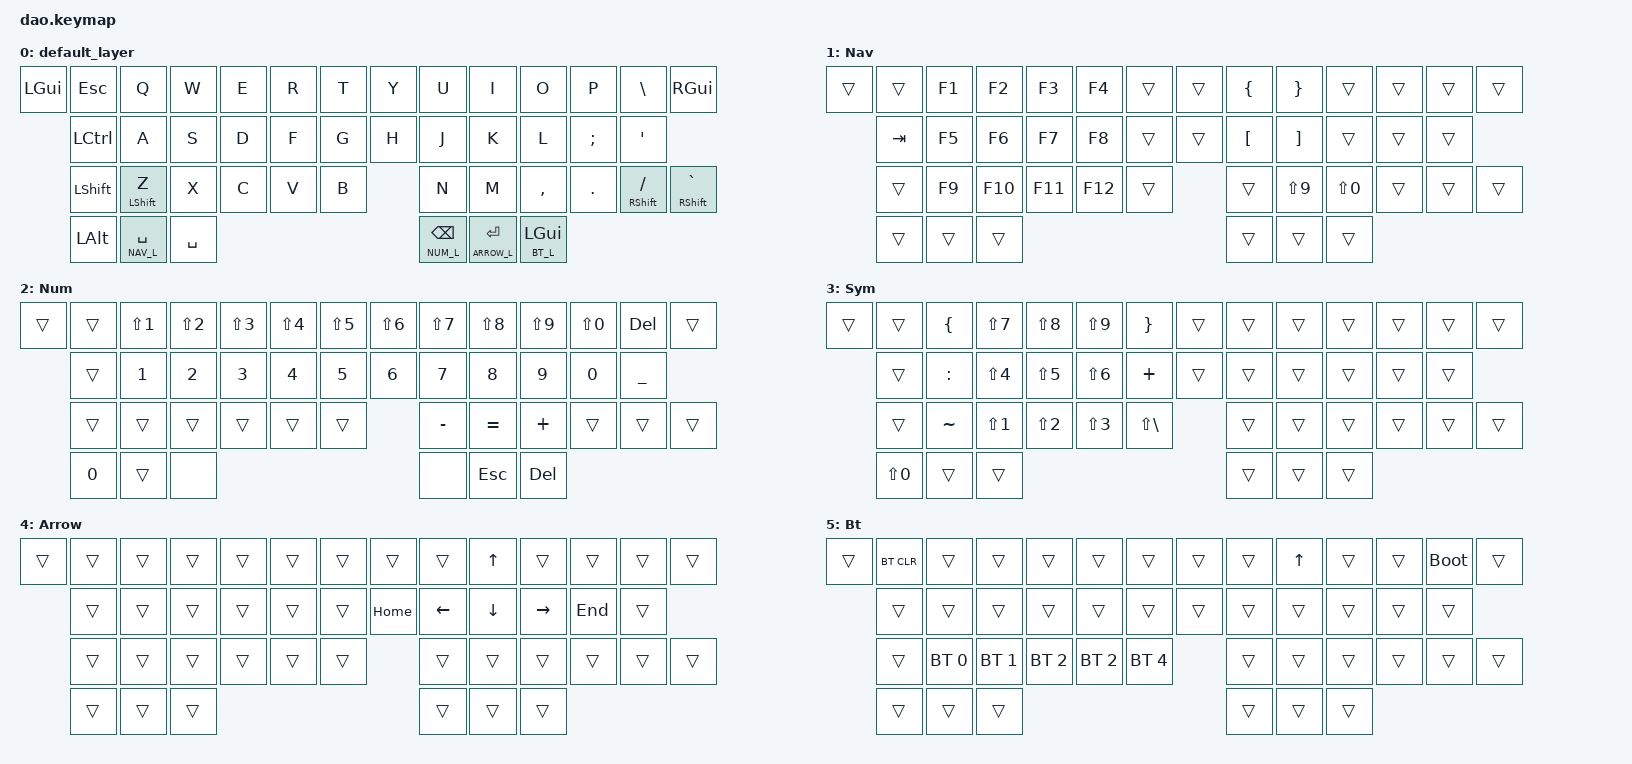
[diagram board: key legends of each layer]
/*
 * Copyright (c) 2021 Rafael Yumagulov
 *
 * SPDX-License-Identifier: MIT
 */

#include <behaviors.dtsi>
#include <dt-bindings/zmk/keys.h>
#include <dt-bindings/zmk/bt.h>
#include <dt-bindings/zmk/outputs.h>

#define DEF 0
#define NAV_L 1
#define NUM_L 2
#define SYM_L 3
#define ARROW_L 4
#define BT_L 5

&lt { quick_tap_ms = <200>; };
&mt { quick_tap_ms = <200>; };

/ {
    behaviors {
        bhm: balanced_homerow_mods {
            compatible = "zmk,behavior-hold-tap";
            label = "HOMEROW_MODS";
            #binding-cells = <2>;
            tapping-term-ms = <200>;    // <---[[moderate duration]]
            quick-tap-ms = <0>;
            flavor = "balanced";
            bindings = <&kp>, <&kp>;
        };
    };

    conditional_layers {
        compatible = "zmk,conditional-layers";
	    tri_layer {
	      if-layers = <NAV_L NUM_L>;
	      then-layer = <SYM_L>;
	    };
    };


        keymap {
                compatible = "zmk,keymap";
                default_layer {
// --------------------------------------------------------------------------------------
//  | GUI  | ESC  |  Q  |  W  |  E  |  R  |  T  |    |  Y  |  U   |  I  |  O  |  P  |  \   |  GUI |
//         | CTRL |  A  |  S  |  D  |  F  |  G  |    |  H  |  J   |  K  |  L  |  ;  |  '  | 
//         |LSHFT |  Z  |  X  |  C  |  V  |  B  |    |  N  |  M   |  ,  |  .  |  /  |  `   |
//                      | ALT | SPC | SPC |     |BKSP| ENT | GUI  |
// --------------------------------------------------------------------------------------
                        bindings = <
&kp LGUI &kp ESC   &kp Q   &kp W   &kp E   &kp R    &kp T    &kp Y   &kp U    &kp I       &kp O     &kp P      &kp BSLH  &kp RGUI
         &kp LCTRL &kp A   &kp S   &kp D   &kp F    &kp G    &kp H   &kp J    &kp K       &kp L     &kp SEMI   &kp QUOT
         &kp LSHFT &mt LSHIFT Z   &kp X   &kp C   &kp V    &kp B    &kp N   &kp M    &kp COMMA   &kp DOT   &mt RSHIFT FSLH   &mt RSHIFT GRAVE
              &kp LALT   &lt NAV_L SPACE   &kp SPACE     &lt NUM_L BKSP  &lt ARROW_L RET    &lt BT_L LGUI
                        >;
                        
                };
   nav_layer {
            label = "Nav";
            bindings = <
// --------------------------------------------------------------------------------------
//   | ESC  |  F1 |  F2 |  F3 |  F4 |   |    |  { |  }   |     |     |     |      | 
//   | CTRL |  F5 |  F6 |  F7 |  F8 |   |    |  [ |  ]   |     |     |     |      |
//   |LSHFT |  F9 | F10 | F11 | F12 |   |    |  ( |  )   |     |     |     |      |
//                |     |     |     |   |    |    |      |     |     |
// --------------------------------------------------------------------------------------
&trans &trans   &kp F1 &kp F2  &kp F3  &kp F4  &trans &trans  &kp LBRC    &kp RBRC  &trans &trans &trans  &trans
      &kp TAB  &kp F5 &kp F6  &kp F7  &kp F8  &trans &trans  &kp LBKT    &kp RBKT  &trans &trans &trans 
      &trans   &kp F9 &kp F10 &kp F11 &kp F12 &trans &trans  &kp LS(N9)  &kp LS(N0)    &trans &trans &trans 
             &trans      &trans          &trans       &trans    &trans  &trans         
            >;
        };


        num_layer {
            label = "Num";
            bindings = <
// --------------------------------------------------------------------------------------
//   |    |  !  |  @  |  #  |  $  |  %  |    | ^  |  &   |  *  |  (  |  )  |  DEL | 
//   |    |  1  |  2  |  3  |  4  |  5  |    | 6  |  7   |  8  |  9  |  0  |  _   |
//   |    |     |     |     |     |     |    | -  |  =   |  +  |      |    |      |
// --------------------------------------------------------------------------------------
&trans &trans   &kp LS(N1)   &kp LS(N2) &kp LS(N3) &kp LS(N4)  &kp LS(N5) &kp LS(N6) &kp LS(N7)  &kp LS(N8)  &kp LS(N9)  &kp LS(N0) &kp DEL     &trans
&trans   &kp N1       &kp N2     &kp N3     &kp N4      &kp N5     &kp N6     &kp N7      &kp N8      &kp N9      &kp N0     &kp UNDER
&trans   &trans       &trans     &trans     &trans      &trans     &kp MINUS  &kp EQUAL   &kp PLUS    &trans     &trans      &trans 
             &kp N0      &trans    &none         &none     &kp ESC        &kp DEL     
            >;
        };

        sym_layer {
            label = "Sym";
            bindings = <
&trans &trans     &kp LBRC   &kp LS(N7) &kp LS(N8)  &kp LS(N9)   &kp RBRC     &trans     &trans    &trans       &trans       &trans     &trans &trans
&trans     &kp COLON  &kp LS(N4) &kp LS(N5)  &kp LS(N6)   &kp PLUS     &trans     &trans    &trans       &trans       &trans     &trans
&trans     &kp TILDE  &kp LS(N1) &kp LS(N2)  &kp LS(N3)   &kp LS(BSLH) &trans     &trans    &trans       &trans       &trans     &trans
                  &kp LS(N0)      &trans          &trans       &trans    &trans  &trans         
            >;
        };

        arrow_layer {
            label = "Arrow";
            bindings = <
&trans &trans  &trans  &trans  &trans  &trans  &trans  &trans  &trans  &kp UP  &trans  &trans  &trans   &trans
&trans  &trans  &trans  &trans  &trans  &trans  &kp HOME  &kp LEFT  &kp DOWN  &kp RIGHT  &kp END  &trans  
&trans  &trans  &trans  &trans  &trans  &trans  &trans  &trans  &trans  &trans  &trans  &trans  
                &trans      &trans          &trans       &trans    &trans  &trans         
            >;
        };


bt_layer {
            label = "Bt";
            bindings = <
&trans &bt BT_CLR  &trans  &trans  &trans  &trans  &trans  &trans  &trans  &kp UP  &trans  &trans &bootloader   &trans
&trans  &trans  &trans  &trans  &trans  &trans   &trans  &trans &trans &trans &trans &trans
&trans  &bt BT_SEL 0 &bt BT_SEL 1  &bt BT_SEL 2   &bt BT_SEL 2   &bt BT_SEL 4   &trans  &trans  &trans  &trans  &trans  &trans  
                &trans      &trans          &trans       &trans    &trans  &trans         
            >;
        };

        };
};
